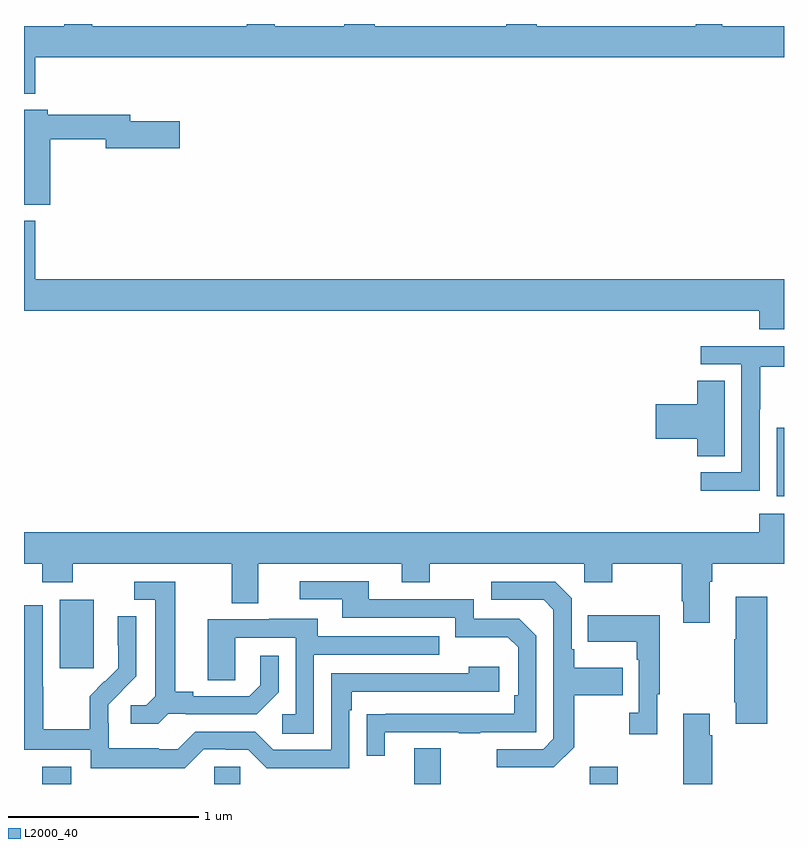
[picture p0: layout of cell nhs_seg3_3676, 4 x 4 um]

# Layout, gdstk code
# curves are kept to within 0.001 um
import gdstk
lib = gdstk.Library(unit=1e-6, precision=1e-09)
def R(c, l, rs):  # rectangles x0, y0, x1, y1
    for r in rs: c.add(gdstk.rectangle(r[:2], r[2:], *l))
def P(c, l, *ps):  # polygons
    for p in ps: c.add(gdstk.Polygon(p, *l))
L2000_40 = (2000, 40)

nhs_seg3_3676 = lib.new_cell('nhs_seg3_3676')
R(nhs_seg3_3676, L2000_40, [(301.097,722.4,301.249,722.491), (302.001,722.4,302.139,722.49), (303.053,722.4,303.193,722.587), (303.977,722.4,304.125,722.491), (301.187,723.009,301.366,723.37), (304.961,723.914,305,724.275)])
P(nhs_seg3_3676, L2000_40, [(301.058,726.224),(305,726.224),(305,726.388),(304.675,726.388),(304.675,726.4),(304.535,726.4),(304.535,726.388),(303.699,726.388),(303.699,726.4),(303.539,726.4),(303.539,726.388),(302.846,726.388),(302.846,726.4),(302.686,726.4),(302.686,726.388),(302.319,726.388),(302.319,726.4),(302.172,726.4),(302.172,726.388),(301.359,726.388),(301.359,726.4),(301.211,726.4),(301.211,726.388),(301,726.388),(301,726.034),(301.058,726.034)],
  [(301.139,725.794),(301.43,725.794),(301.43,725.747),(301.819,725.747),(301.819,725.889),(301.558,725.889),(301.558,725.923),(301.126,725.923),(301.126,725.949),(301,725.949),(301,725.45),(301.139,725.45)],
  [(305,725.056),(301.058,725.056),(301.058,725.365),(301,725.365),(301,724.892),(304.871,724.892),(304.871,724.793),(305,724.793)],
  [(304.872,724.372),(304.875,724.372),(304.875,724.596),(305,724.596),(305,724.704),(304.563,724.704),(304.563,724.608),(304.776,724.608),(304.776,724.041),(304.563,724.041),(304.563,723.943),(304.872,723.943)],
  [(304.687,724.523),(304.544,724.523),(304.544,724.4),(304.326,724.4),(304.326,724.217),(304.544,724.217),(304.544,724.126),(304.687,724.126)],
  [(301,723.56),(301.097,723.56),(301.097,723.461),(301.257,723.461),(301.257,723.56),(302.093,723.56),(302.093,723.352),(302.233,723.352),(302.233,723.56),(302.987,723.56),(302.987,723.461),(303.135,723.461),(303.135,723.56),(303.948,723.56),(303.948,723.461),(304.095,723.461),(304.095,723.56),(304.462,723.56),(304.462,723.361),(304.469,723.361),(304.469,723.249),(304.609,723.249),(304.609,723.464),(304.622,723.464),(304.622,723.56),(305,723.56),(305,723.823),(304.871,723.823),(304.871,723.724),(301,723.724)],
  [(302.899,722.673),(303.289,722.673),(303.289,722.668),(303.401,722.668),(303.401,722.673),(303.696,722.673),(303.696,723.18),(303.606,723.27),(303.366,723.27),(303.366,723.372),(302.815,723.372),(302.815,723.468),(302.451,723.468),(302.451,723.372),(302.675,723.372),(302.675,723.276),(303.27,723.276),(303.27,723.173),(303.547,723.173),(303.6,723.12),(303.6,722.866),(303.58,722.866),(303.58,722.769),(302.803,722.768),(302.803,722.55),(302.899,722.55)],
  [(301.758,722.769),(301.852,722.769),(301.852,722.766),(302.224,722.766),(302.34,722.882),(302.34,723.076),(302.243,723.076),(302.243,722.919),(302.186,722.862),(301.891,722.862),(301.891,722.885),(301.795,722.885),(301.795,723.465),(301.581,723.465),(301.581,723.369),(301.691,723.369),(301.691,722.861),(301.644,722.814),(301.563,722.814),(301.563,722.717),(301.706,722.717)],
  [(303.895,722.593),(303.895,722.866),(304.151,722.866),(304.151,723.013),(303.895,723.013),(303.895,723.109),(303.882,723.109),(303.882,723.378),(303.795,723.465),(303.459,723.465),(303.459,723.369),(303.735,723.369),(303.786,723.318),(303.786,722.637),(303.732,722.583),(303.489,722.583),(303.489,722.487),(303.789,722.487)],
  [(304.913,723.385),(304.745,723.385),(304.745,723.161),(304.738,723.161),(304.738,722.83),(304.745,722.83),(304.745,722.718),(304.913,722.718)],
  [(301.947,722.583),(302.063,722.583),(302.063,722.58),(302.181,722.58),(302.277,722.484),(302.712,722.484),(302.712,722.789),(302.725,722.789),(302.725,722.886),(303.502,722.886),(303.502,723.016),(303.341,723.016),(303.341,722.982),(302.616,722.982),(302.616,722.58),(302.313,722.58),(302.217,722.676),(301.902,722.676),(301.809,722.583),(301.709,722.583),(301.709,722.587),(301.446,722.587),(301.446,722.721),(301.444,722.721),(301.444,722.818),(301.59,722.966),(301.59,723.284),(301.494,723.284),(301.494,723.13),(301.496,723.13),(301.496,723.008),(301.425,722.937),(301.422,722.94),(301.345,722.863),(301.345,722.689),(301.101,722.689),(301.101,722.912),(301.098,722.912),(301.098,723.342),(301,723.342),(301,723.243),(301.002,723.243),(301.002,722.676),(301,722.676),(301,722.58),(301.35,722.58),(301.35,722.483),(301.847,722.483)],
  [(304.333,722.873),(304.345,722.873),(304.345,723.289),(303.967,723.289),(303.967,723.149),(304.224,723.149),(304.224,723.053),(304.236,723.053),(304.236,722.774),(304.185,722.774),(304.185,722.661),(304.333,722.661)],
  [(302.526,723.081),(303.185,723.081),(303.185,723.177),(302.545,723.177),(302.545,723.271),(302.291,723.271),(302.291,723.267),(301.967,723.267),(301.967,722.947),(302.112,722.947),(302.112,723.171),(302.43,723.171),(302.43,722.766),(302.358,722.766),(302.358,722.665),(302.526,722.665)],
  [(304.622,722.657),(304.609,722.657),(304.609,722.77),(304.469,722.77),(304.469,722.4),(304.622,722.4)])

lib.write_gds('nhs_seg3_3676.gds')
